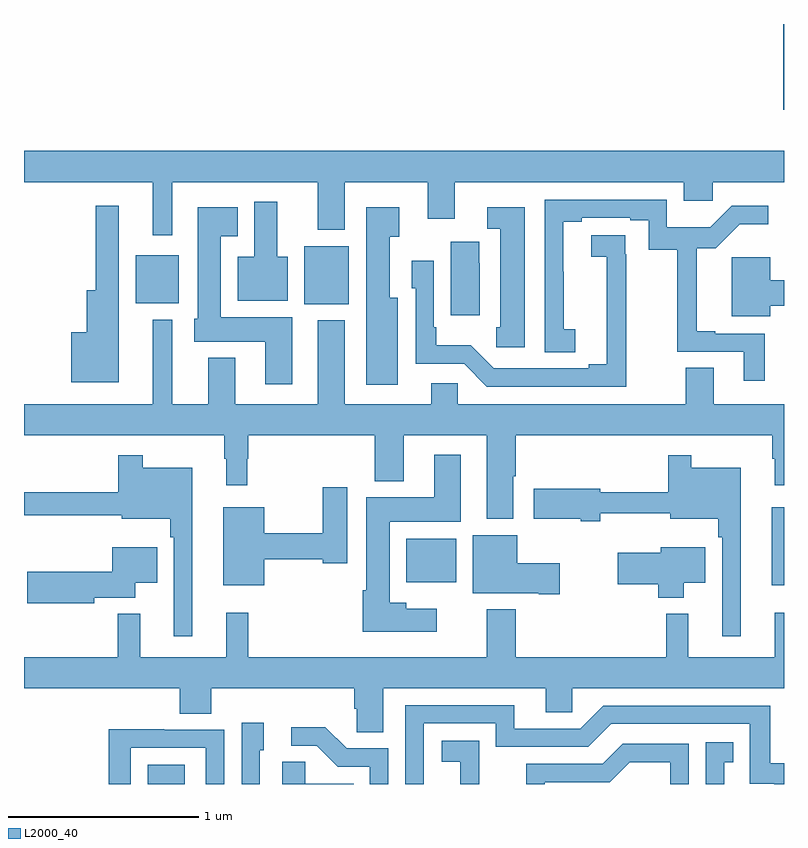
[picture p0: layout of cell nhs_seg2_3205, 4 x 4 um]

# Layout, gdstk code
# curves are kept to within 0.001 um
import gdstk
lib = gdstk.Library(unit=1e-6, precision=1e-09)
def R(c, l, rs):  # rectangles x0, y0, x1, y1
    for r in rs: c.add(gdstk.rectangle(r[:2], r[2:], *l))
def P(c, l, *ps):  # polygons
    for p in ps: c.add(gdstk.Polygon(p, *l))
L2000_40 = (2000, 40)

nhs_seg2_3205 = lib.new_cell('nhs_seg2_3205')
R(nhs_seg2_3205, L2000_40, [(279.65,645.8,279.847,645.901), (282.935,646.847,283,647.257), (281.012,646.862,281.275,647.092), (280.475,648.326,280.708,648.631), (279.587,648.329,279.814,648.583), (282.997,649.349,283,649.8)])
P(nhs_seg2_3205, L2000_40, [(279.781,648.968),(280.547,648.968),(280.547,648.716),(280.687,648.716),(280.687,648.968),(281.126,648.968),(281.126,648.774),(281.266,648.774),(281.266,648.968),(282.473,648.968),(282.473,648.87),(282.625,648.87),(282.625,648.968),(283,648.968),(283,649.132),(279,649.132),(279,648.968),(279.677,648.968),(279.677,648.687),(279.781,648.687)],
  [(282.898,648.171),(282.637,648.171),(282.637,648.184),(282.542,648.184),(282.542,648.621),(282.641,648.621),(282.767,648.746),(282.916,648.746),(282.916,648.843),(282.726,648.843),(282.613,648.73),(282.384,648.73),(282.384,648.876),(281.742,648.876),(281.742,648.073),(281.902,648.073),(281.902,648.193),(281.841,648.193),(281.841,648.497),(281.839,648.497),(281.839,648.76),(281.935,648.76),(281.935,648.78),(282.191,648.78),(282.191,648.766),(282.288,648.766),(282.288,648.613),(282.439,648.613),(282.439,648.075),(282.788,648.075),(282.788,647.922),(282.898,647.922)],
  [(280.387,648.574),(280.333,648.574),(280.333,648.865),(280.211,648.865),(280.211,648.574),(280.124,648.574),(280.124,648.344),(280.387,648.344)],
  [(279.499,648.844),(279.378,648.844),(279.378,648.4),(279.329,648.4),(279.329,648.178),(279.248,648.178),(279.248,647.915),(279.499,647.915)],
  [(280.966,648.358),(280.924,648.358),(280.924,648.679),(280.975,648.679),(280.975,648.835),(280.802,648.835),(280.802,647.901),(280.966,647.901)],
  [(280.411,648.256),(280.036,648.256),(280.036,648.683),(280.126,648.683),(280.126,648.835),(279.914,648.835),(279.914,648.249),(279.896,648.249),(279.896,648.128),(280.271,648.128),(280.271,647.904),(280.411,647.904)],
  [(281.635,648.835),(281.439,648.835),(281.439,648.723),(281.507,648.723),(281.507,648.204),(281.485,648.204),(281.485,648.099),(281.635,648.099)],
  [(282.17,648.587),(282.164,648.587),(282.164,648.689),(281.985,648.689),(281.985,648.574),(282.067,648.574),(282.068,648.008),(281.972,648.008),(281.972,647.988),(281.472,647.988),(281.351,648.109),(281.17,648.109),(281.17,648.205),(281.157,648.205),(281.157,648.553),(281.04,648.553),(281.04,648.408),(281.061,648.408),(281.061,648.012),(281.316,648.012),(281.436,647.892),(282.17,647.892)],
  [(281.398,648.542),(281.395,648.542),(281.395,648.655),(281.246,648.655),(281.246,648.266),(281.398,648.266)],
  [(282.928,648.316),(283,648.316),(283,648.452),(282.928,648.452),(282.928,648.573),(282.725,648.573),(282.725,648.263),(282.928,648.263)],
  [(281.575,647.421),(281.588,647.421),(281.588,647.636),(282.939,647.636),(282.939,647.513),(282.95,647.513),(282.95,647.373),(283,647.373),(283,647.8),(282.631,647.8),(282.631,647.99),(282.484,647.99),(282.484,647.8),(281.283,647.8),(281.283,647.91),(281.144,647.91),(281.144,647.8),(280.687,647.8),(280.687,648.241),(280.547,648.241),(280.547,647.8),(280.111,647.8),(280.111,648.043),(279.971,648.043),(279.971,647.8),(279.781,647.8),(279.781,648.244),(279.677,648.244),(279.677,647.8),(279,647.8),(279,647.636),(280.053,647.636),(280.053,647.513),(280.064,647.513),(280.064,647.373),(280.174,647.373),(280.174,647.513),(280.181,647.513),(280.181,647.636),(280.847,647.636),(280.847,647.393),(280.999,647.393),(280.999,647.636),(281.435,647.636),(281.435,647.195),(281.575,647.195)],
  [(281.173,646.723),(281.011,646.723),(281.011,646.753),(280.924,646.753),(280.924,647.18),(281.299,647.18),(281.299,647.533),(281.159,647.533),(281.159,647.308),(280.802,647.308),(280.802,646.819),(280.784,646.819),(280.784,646.601),(281.173,646.601)],
  [(282.772,647.464),(282.511,647.464),(282.511,647.53),(282.39,647.53),(282.39,647.335),(282.034,647.335),(282.034,647.353),(281.682,647.353),(281.682,647.195),(281.93,647.195),(281.93,647.183),(282.034,647.183),(282.034,647.225),(282.401,647.225),(282.401,647.195),(282.655,647.195),(282.655,647.099),(282.675,647.099),(282.675,646.578),(282.772,646.578)],
  [(279.886,647.464),(279.625,647.464),(279.625,647.53),(279.496,647.53),(279.496,647.335),(279,647.335),(279,647.214),(279.515,647.214),(279.515,647.195),(279.769,647.195),(279.769,647.099),(279.789,647.099),(279.789,646.578),(279.886,646.578)],
  [(280.264,646.984),(280.573,646.984),(280.573,646.961),(280.702,646.961),(280.702,647.362),(280.573,647.362),(280.573,647.12),(280.264,647.12),(280.264,647.257),(280.049,647.257),(280.049,646.847),(280.264,646.847)],
  [(281.821,646.963),(281.596,646.963),(281.596,647.11),(281.363,647.11),(281.363,646.805),(281.708,646.805),(281.708,646.798),(281.821,646.798)],
  [(282.472,646.859),(282.586,646.859),(282.586,647.047),(282.35,647.047),(282.35,647.017),(282.126,647.017),(282.126,646.852),(282.338,646.852),(282.338,646.781),(282.472,646.781)],
  [(279.37,646.781),(279.586,646.781),(279.586,646.859),(279.7,646.859),(279.7,647.047),(279.464,647.047),(279.464,646.917),(279.018,646.917),(279.018,646.751),(279.37,646.751)],
  [(281.747,646.177),(281.886,646.177),(281.886,646.304),(283,646.304),(283,646.702),(282.95,646.702),(282.95,646.468),(282.497,646.468),(282.497,646.696),(282.379,646.696),(282.379,646.468),(281.588,646.468),(281.588,646.72),(281.435,646.72),(281.435,646.468),(280.181,646.468),(280.181,646.702),(280.064,646.702),(280.064,646.468),(279.611,646.468),(279.611,646.696),(279.493,646.696),(279.493,646.468),(279,646.468),(279,646.304),(279.821,646.304),(279.821,646.171),(279.986,646.171),(279.986,646.304),(280.739,646.304),(280.739,646.195),(280.752,646.195),(280.752,646.072),(280.891,646.072),(280.891,646.304),(281.747,646.304)],
  [(281.103,646.119),(281.484,646.119),(281.484,645.996),(281.97,645.996),(282.09,646.116),(282.819,646.116),(282.819,645.801),(283,645.8),(283,645.91),(282.928,645.91),(282.928,646.212),(282.048,646.212),(281.928,646.092),(281.581,646.092),(281.581,646.215),(281.007,646.215),(281.007,645.8),(281.103,645.8)],
  [(280.242,645.978),(280.261,645.978),(280.261,646.123),(280.146,646.123),(280.146,645.8),(280.242,645.8)],
  [(280.917,645.987),(280.698,645.987),(280.585,646.1),(280.407,646.1),(280.407,646.002),(280.541,646.002),(280.652,645.891),(280.821,645.891),(280.821,645.8),(280.917,645.8)],
  [(279.561,645.99),(279.957,645.99),(279.957,645.8),(280.053,645.8),(280.053,646.086),(279.737,646.086),(279.737,646.088),(279.445,646.088),(279.445,645.8),(279.561,645.8)],
  [(281.396,645.821),(281.397,645.821),(281.397,646.027),(281.199,646.027),(281.199,645.917),(281.297,645.917),(281.297,645.8),(281.396,645.8)],
  [(282.685,645.915),(282.734,645.915),(282.734,646.021),(282.588,646.021),(282.588,645.8),(282.685,645.8)],
  [(281.742,645.81),(282.084,645.81),(282.188,645.914),(282.402,645.914),(282.402,645.8),(282.498,645.8),(282.498,646.011),(282.152,646.011),(282.047,645.906),(281.644,645.906),(281.644,645.8),(281.742,645.8)],
  [(280.736,645.802),(280.479,645.802),(280.479,645.917),(280.358,645.917),(280.358,645.8),(280.736,645.8)])

lib.write_gds('nhs_seg2_3205.gds')
